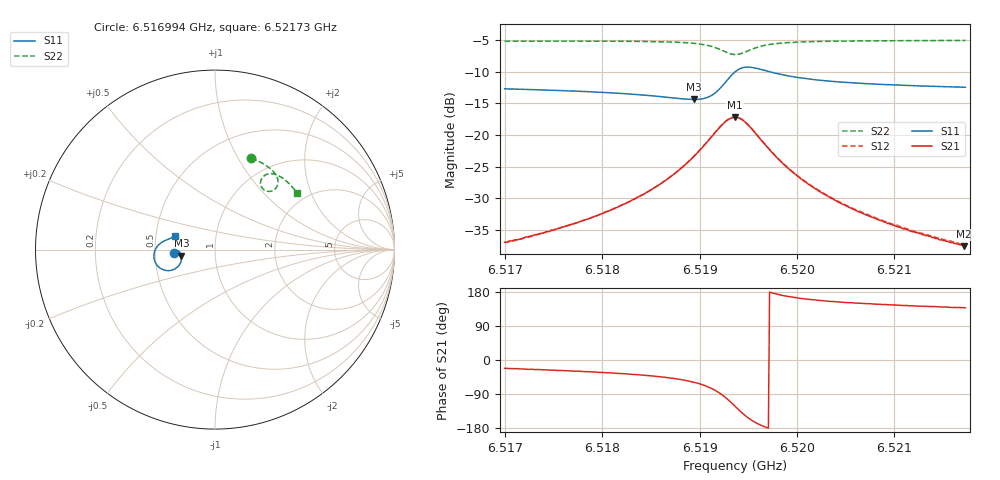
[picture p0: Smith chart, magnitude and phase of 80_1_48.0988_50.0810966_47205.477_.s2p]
#  HZ  S  RI  R  50.00
! Rohde & Schwarz Vector Network Analyzer
! Rohde-Schwarz,ZNB20-2Port,1311601062101988,3.16
! Created: UTC 12/23/2023, 3:42:39 AM
! freq[Hz]  re:S11  im:S11  re:S21  im:S21  re:S12  im:S12  re:S22  im:S22
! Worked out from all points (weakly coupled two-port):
!   401 points, 6.516994 GHz to 6.52173 GHz, reference 50 ohm
!   highest |S21| = -17.21 dB at 6.519362 GHz (marker M1); lowest = -37.5 dB at 6.521719 GHz (marker M2)
!   lowest |S11| = -14.4 dB at 6.518936 GHz (marker M3), VSWR 1.47, Z = 34.1 - j2.45 ohm
!   |S11| at or under -10 dB: start of sweep to 6.519367 GHz; 6.519711 GHz to end of sweep
!   |S22| runs from -7.3 to -5.1 dB; largest |S21 - S12| = 0.0043
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6.5169941e9  -0.2306 -0.0174  0.0132 -0.00531  0.0134 -0.00491  0.2032 0.5093
6.5173375e9  -0.2268 -0.0122  0.015 -0.00701  0.0152 -0.00657  0.2284 0.4988
6.5177875e9  -0.2205 -0.00709  0.0182 -0.0106  0.0184 -0.01  0.2618 0.4824
6.5182611e9  -0.2108 -0.00506  0.0235 -0.0177  0.0242 -0.017  0.2975 0.4596
6.5185808e9  -0.2012 -0.00955  0.0292 -0.0281  0.0301 -0.0272  0.3224 0.4383
6.5187702e9  -0.1936 -0.0182  0.0331 -0.0395  0.0345 -0.0389  0.3371 0.4202
6.518936e9  -0.1874 -0.0346  0.0351 -0.0573  0.0371 -0.0566  0.3481 0.3976
6.5190544e9  -0.187 -0.0556  0.032 -0.078  0.0345 -0.0776  0.3512 0.3742
6.5191373e9  -0.194 -0.0772  0.0223 -0.0975  0.0253 -0.0977  0.3462 0.354
6.5192675e9  -0.2368 -0.1134  -0.0214 -0.1262  -0.0179 -0.1278  0.3129 0.3255
6.5193623e9  -0.2945 -0.1096  -0.0731 -0.1168  -0.0701 -0.1199  0.2732 0.3329
6.5194096e9  -0.3195 -0.091  -0.0933 -0.0979  -0.0911 -0.1013  0.2591 0.349
6.5194688e9  -0.3371 -0.0595  -0.1055 -0.0686  -0.1042 -0.0722  0.2536 0.3733
6.5195754e9  -0.3363 -0.00938  -0.0993 -0.0257  -0.0992 -0.0288  0.2681 0.4063
6.5196701e9  -0.3219 0.0176  -0.0839 -0.00504  -0.0845 -0.00746  0.2886 0.4194
6.5198951e9  -0.2904 0.0442  -0.0547 0.0114  -0.0555 0.01  0.3284 0.4212
6.5201556e9  -0.2689 0.0543  -0.0365 0.014  -0.0374 0.013  0.359 0.4095
6.5205345e9  -0.2513 0.0615  -0.0236 0.0129  -0.0244 0.0124  0.39 0.3882
6.5209489e9  -0.2397 0.0676  -0.0166 0.0112  -0.017 0.011  0.4169 0.3637
6.5212449e9  -0.2334 0.0718  -0.0133 0.0104  -0.0137 0.01  0.4335 0.3459
6.5217186e9  -0.2249 0.0781  -0.00986 0.00893  -0.0105 0.00891  0.4572 0.3166
6.5217304e9  -0.2247 0.0784  -0.0099 0.00891  -0.0104 0.00885  0.4578 0.3159
